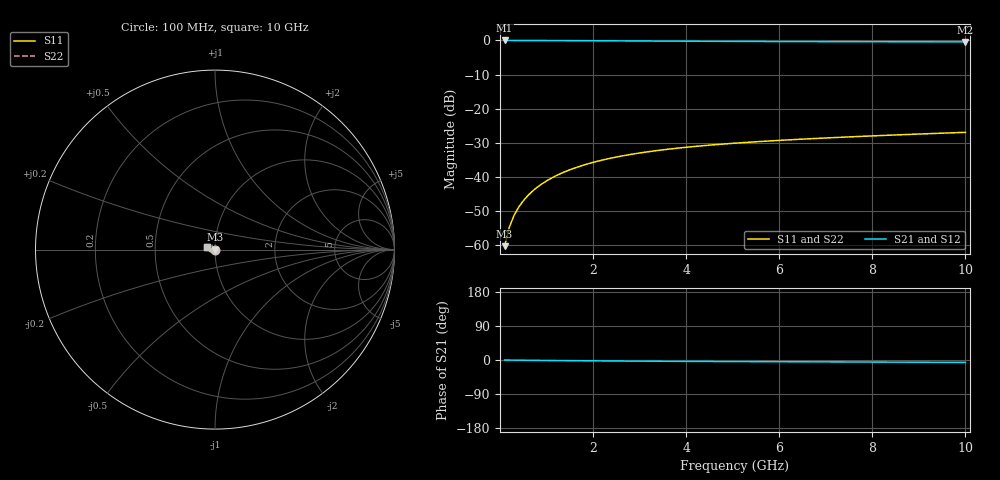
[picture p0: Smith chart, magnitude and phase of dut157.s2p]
! Touchstone file exported from HFSS 2024.1.0
!  File:  C:/UserFiles/LocalFiles/RDL_TSV_Batchsim/temp_TSV1_157_1779382040.aedt
!  Generated:  12:53:22 AM May 22, 2026
!  Design:  TSV1
!  Project:  temp_TSV1_157_1779382040
!  Setup:  Setup1
!  Solution:  Sweep
! Variables:
!  dtsv = 6.52um
!  hbump = 3um
!  htsv = 98.33um
!  lrdl = 252.1521522um
!  p = 40
!  p1 = 44.89um
!  t = 500um
!  trdl = 3um
!  wrdl = 24.89489489um
# GHz S MA R 50.000000
! Terminal data exported
! Port[1] = TSV22_T1
! Port[2] = TSV22_T2
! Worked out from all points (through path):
!   100 points, 100 MHz to 10 GHz, reference 50 ohm
!   highest |S21| = 0.00 dB at 100 MHz (marker M1); lowest = -0.4 dB at 10 GHz (marker M2)
!   lowest |S11| = -60.4 dB at 100 MHz (marker M3), VSWR 1.00, Z = 50 - j0.0886 ohm
!   |S11| at or under -10 dB: start of sweep to end of sweep
!   |S22| runs from -60.4 to -27.0 dB; largest |S21 - S12| = 7.5e-15
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0.1  0.0009545 -68.0  0.9996 -0.1  0.9996 -0.1  0.0009545 -68.0
! Gamma 0 0 0 0
! Port Impedance 50 0 50 0
0.2  0.001807 -81.3  0.9995 -0.2  0.9995 -0.2  0.001807 -81.3
0.3  0.002678 -87.2  0.9993 -0.4  0.9993 -0.4  0.002678 -87.2
0.4  0.00355 -91.1  0.9991 -0.5  0.9991 -0.5  0.00355 -91.1
0.5  0.00442 -94.2  0.9989 -0.6  0.9989 -0.6  0.00442 -94.2
0.6  0.005284 -96.8  0.9985 -0.7  0.9985 -0.7  0.005284 -96.8
0.7  0.006142 -99.2  0.9982 -0.8  0.9982 -0.8  0.006142 -99.2
0.8  0.006991 -101.5  0.9978 -1.0  0.9978 -1.0  0.006991 -101.5
0.9  0.00783 -103.6  0.9973 -1.1  0.9973 -1.1  0.00783 -103.6
1.1  0.009475 -107.7  0.9963 -1.3  0.9963 -1.3  0.009475 -107.7
1.4  0.01185 -113.3  0.9944 -1.6  0.9944 -1.6  0.01185 -113.3
1.6  0.01336 -116.9  0.9931 -1.8  0.9931 -1.8  0.01336 -116.9
1.8  0.01481 -120.4  0.9916 -2.0  0.9916 -2.0  0.01481 -120.4
2.1  0.01688 -125.3  0.9893 -2.3  0.9893 -2.3  0.01688 -125.3
2.5  0.01942 -131.6  0.9862 -2.6  0.9862 -2.6  0.01942 -131.6
2.9  0.02172 -137.4  0.983 -2.9  0.983 -2.9  0.02172 -137.4
3.4  0.02429 -144.1  0.9792 -3.2  0.9792 -3.2  0.02429 -144.1
4.2  0.02784 -153.8  0.9737 -3.7  0.9737 -3.7  0.02784 -153.8
5.1  0.0312 -163.2  0.9685 -4.2  0.9685 -4.2  0.0312 -163.2
6.7  0.03615 -177.3  0.9615 -4.9  0.9615 -4.9  0.03615 -177.3
8.4  0.04072 170.7  0.9563 -5.6  0.9563 -5.6  0.04072 170.7
10  0.04477 161.4  0.9529 -6.3  0.9529 -6.3  0.04477 161.4
